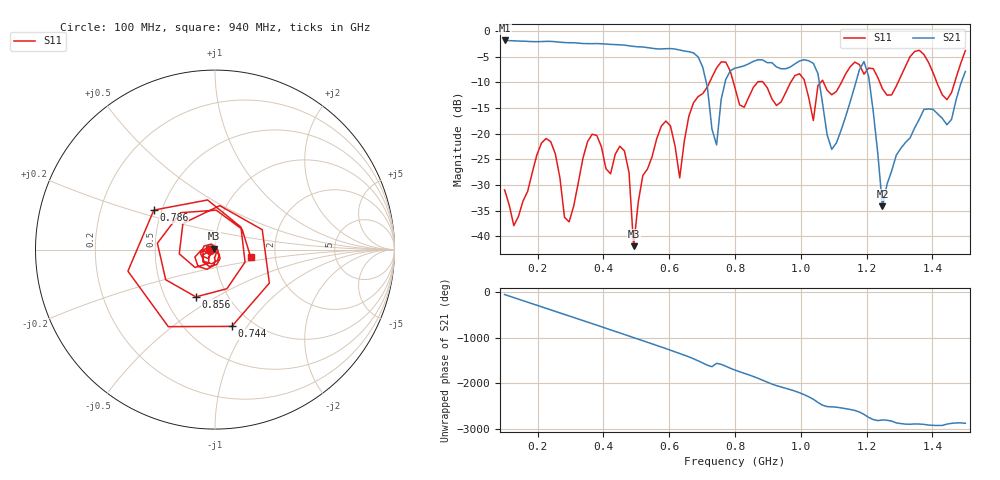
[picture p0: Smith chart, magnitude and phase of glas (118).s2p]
! NanoVNA-App
! Date: 2025-09-25 15:56:23
! Start: 100MHz Stop: 1,5GHz Points: 101
! S-Parameter data: F S11 S21 S12 S22
# Hz S RI R 50
!  Frequency  S11_Real  S11_Imag  S21_Real  S21_Imag  S12_Real  S12_Imag  S22_Real  S22_Imag
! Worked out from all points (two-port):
!   101 points, 100 MHz to 1.5 GHz, reference 50 ohm
!   highest |S21| = -1.80 dB at 100 MHz (marker M1); lowest = -34.2 dB at 1.248 GHz (marker M2)
!   |S21| within 3 dB of the highest: start of sweep to 684.3 MHz
!   lowest |S11| = -41.9 dB at 492 MHz (marker M3), VSWR 1.02, Z = 49.5 + j0.597 ohm
!   |S11| at or under -10 dB: start of sweep to 722.5 MHz; 795.4 MHz to 868 MHz (72.64 MHz wide, 8.73 % of centre); 886.1 MHz to 968.9 MHz (82.76 MHz wide, 8.92 % of centre) (the widest 3 of 7)
!   S12 and S22 are empty: the file has one direction only
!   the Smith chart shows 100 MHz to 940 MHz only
!   S11 on the Smith chart (normalised r, x): 100 MHz: 0.95, -0.01; 744 MHz: 0.80, -0.85; 786 MHz: 0.45, +0.24; 856 MHz: 0.71, -0.41; 940 MHz: 1.49, -0.14
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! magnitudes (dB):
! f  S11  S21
! 100 MHz  -31.0  -1.8
! 128 MHz  -37.9  -1.9
! 226 MHz  -20.9  -2.0
! 296 MHz  -37.2  -2.2
! 338 MHz  -24.8  -2.4
! 464 MHz  -23.3  -2.7
! 492 MHz  -41.9  -3.0
! 576 MHz  -18.5  -3.5
! 632 MHz  -28.6  -3.7
! 702 MHz  -12.2  -7.0
! 744 MHz  -7.2  -22.2
! 786 MHz  -7.8  -7.7
! 800 MHz  -11.1  -7.2
! 856 MHz  -10.9  -5.9
! 940 MHz  -13.8  -7.3
! 996 MHz  -8.3  -5.8
! 1.038 GHz  -17.4  -6.3
! 1.094 GHz  -12.4  -23.0
! 1.192 GHz  -8.4  -5.9
! 1.248 GHz  -11.2  -34.2
! 1.276 GHz  -12.4  -27.2
! 1.5 GHz  -3.8  -7.9
